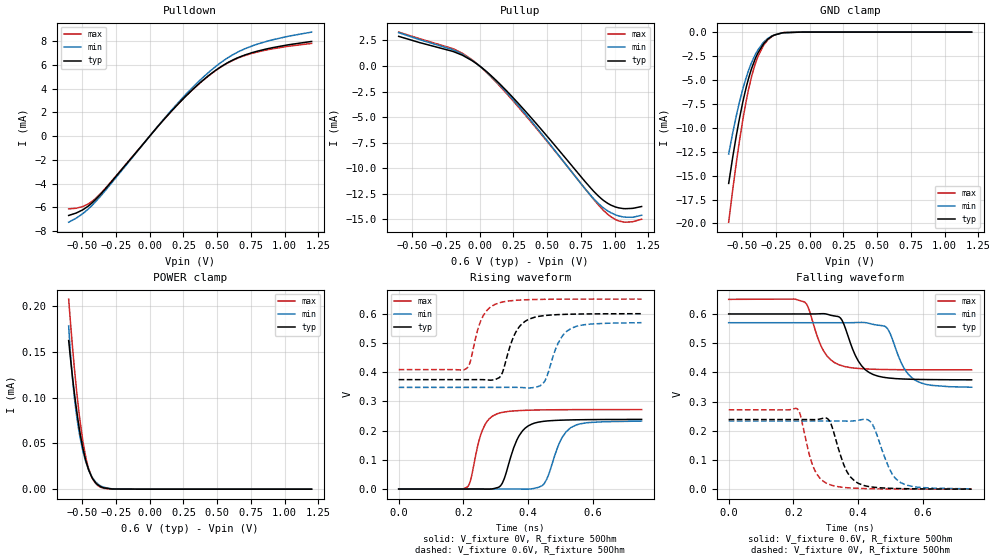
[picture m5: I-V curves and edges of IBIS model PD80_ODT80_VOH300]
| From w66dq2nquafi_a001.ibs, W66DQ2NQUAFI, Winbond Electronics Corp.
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[Model]   PD80_ODT80_VOH300
Model_type   I/O
Polarity   Non-Inverting
Enable   Active-Low
Vinl = 0.08
Vinh = 0.22
Vmeas = 0.15
Vref = 0
Cref = 0pF
Rref = 80
|   typ   min   max
C_comp   1.15pF   1.05pF   1.25pF
[Voltage Range]   0.6   0.57   0.65
[Temperature Range]   25   95   -40
[Pullup Reference]   0.6   0.57   0.65
[Pulldown Reference]   0   0   0
[Power Clamp Reference]   0.6   0.57   0.65
[GND Clamp Reference]   0   0   0
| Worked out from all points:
|   slope of the pulldown table from 0 to 0.09 V, typ, clamps not added: 74.8 ohm
|   slope of the pullup table from 0 to 0.09 V, typ, clamps not added: 89.3 ohm
|   GND clamp passes 1 mA (typ) near -0.33 V on its own axis
|   falling waveform, V_fixture 0.6V, R_fixture 50Ohm: 20-80 % time 53.9ps typ, 54.1ps min, 51.4ps max; typ from 0.6 V to 0.374 V
|   rising waveform, V_fixture 0V, R_fixture 50Ohm: 20-80 % time 47.4ps typ, 48.7ps min, 38.3ps max; typ from 0 V to 0.238 V
|   rising waveform, V_fixture 0.6V, R_fixture 50Ohm: 20-80 % time 45.8ps typ, 46.9ps min, 40.7ps max; typ from 0.374 V to 0.6 V
|   falling waveform, V_fixture 0V, R_fixture 50Ohm: 20-80 % time 46.6ps typ, 50.2ps min, 42.1ps max; typ from 0.238 V to 0 V
[Pulldown]
|   Voltage   I(typ)   I(min)   I(max)
-600mV    -6.681mA   -7.249mA   -6.124mA
-494.7mV  -6.198mA   -6.521mA   -5.925mA
-453mV    -5.874mA   -6.121mA   -5.698mA
-400.4mV  -5.339mA   -5.522mA   -5.244mA
-309.5mV  -4.197mA   -4.327mA   -4.154mA
164.9mV   2.158mA    2.235mA    2.153mA
348.3mV   4.25mA     4.45mA     4.236mA
513.4mV   5.746mA    6.09mA     5.722mA
624.6mV   6.469mA    6.921mA    6.438mA
761.1mV   7.051mA    7.618mA    6.992mA
914.4mV   7.472mA    8.135mA    7.374mA
1.2V      7.988mA    8.776mA    7.822mA
[GND Clamp]
|   Voltage   I(typ)   I(min)   I(max)
-600mV    -15.82mA   -12.76mA   -19.87mA
-570.1mV  -13.09mA   -10.55mA   -16.49mA
-520.8mV  -9.085mA   -7.357mA   -11.45mA
-494.7mV  -7.275mA   -5.925mA   -9.119mA
-452.4mV  -4.835mA   -3.99mA    -5.962mA
-429mV    -3.762mA   -3.139mA   -4.571mA
-383.6mV  -2.195mA   -1.875mA   -2.562mA
-338.1mV  -1.163mA   -1.019mA   -1.308mA
-279mV    -422.3uA   -392.4uA   -458.8uA
-187.9mV  -58.44uA   -67.57uA   -43.54uA
-59.4mV   -1.35uA    -3.104uA   -495.1nA
1.2V      0A         0A         0A
[Pullup]
|   Voltage   I(typ)   I(min)   I(max)
-600mV    2.903mA    3.266mA    3.32mA
-187.9mV  1.375mA    1.529mA    1.64mA
-35.15mV  333.7uA    360.9uA    393.7uA
84.45mV   -942.3uA   -999.6uA   -1.067mA
228.1mV   -2.828mA   -2.999mA   -3.118mA
443.4mV   -6.007mA   -6.381mA   -6.476mA
783.6mV   -11.36mA   -12.07mA   -12.06mA
898mV     -12.95mA   -13.69mA   -13.87mA
971.7mV   -13.62mA   -14.37mA   -14.76mA
1.03V     -13.89mA   -14.68mA   -15.17mA
1.129V    -13.95mA   -14.82mA   -15.26mA
1.2V      -13.76mA   -14.62mA   -15.01mA
[POWER Clamp]
|   Voltage   I(typ)   I(min)   I(max)
-600mV    162.4uA    178.3uA    207.7uA
-580.6mV  134.6uA    136.3uA    171.3uA
-557.1mV  104.3uA    99.45uA    131.3uA
-529.3mV  74.04uA    68.39uA    91.44uA
-520.7mV  65.86uA    60.72uA    80.02uA
-494.7mV  44.84uA    41.73uA    52.15uA
-471.8mV  30.48uA    29.24uA    33.83uA
-453.1mV  21.6uA     21.25uA    22.84uA
-428.4mV  13.09uA    13.62uA    12.89uA
-384mV    4.751uA    5.739uA    3.928uA
-278.5mV  182.2nA    408.3nA    62.25nA
1.2V      0A         0A         0A
[Ramp]
R_load = 50
|   typ   min   max
dV/dt_r 1.4295E-01/4.6923E-11   1.3944E-01/4.8129E-11   1.6308E-01/3.8098E-11
dV/dt_f 1.3532E-01/5.3860E-11   1.3254E-01/5.4057E-11   1.4483E-01/5.1217E-11
[Falling Waveform]
V_fixture = 0.6V
V_fixture_min = 0.57V
V_fixture_max = 0.65V
R_fixture = 50Ohm
C_fixture = 0F
|   Time   V(typ)   V(min)   V(max)
0s        600mV      570mV      650mV
235ps     600mV      570mV      640.3mV
288ps     600.9mV    570mV      483.6mV
341ps     589.7mV    570mV      425.7mV
410ps     423mV      571mV      412.6mV
481ps     382.6mV    558.2mV    409.8mV
498ps     380.2mV    534.4mV    409.4mV
539ps     377.2mV    419.1mV    409mV
571ps     376.1mV    376.7mV    408.8mV
750ps     374.5mV    349.1mV    408.6mV
[Rising Waveform]
V_fixture = 0V
V_fixture_min = 0V
V_fixture_max = 0V
R_fixture = 50Ohm
C_fixture = 0F
|   Time   V(typ)   V(min)   V(max)
0s        6.127uV    20.22uV    1.206uV
212ps     6.155uV    20.22uV    6.9mV
258ps     -53.52uV   20.3uV     200mV
305ps     4.812mV    19.82uV    257.8mV
371ps     180.8mV    -69.99uV   268.3mV
411ps     222.2mV    662.5uV    270mV
450ps     232mV      19.63mV    270.8mV
498ps     235.5mV    162mV      271.4mV
531ps     236.5mV    209.8mV    271.6mV
750ps     238.3mV    232.4mV    271.8mV
[Rising Waveform]
V_fixture = 0.6V
V_fixture_min = 0.57V
V_fixture_max = 0.65V
R_fixture = 50Ohm
C_fixture = 0F
|   Time   V(typ)   V(min)   V(max)
0s        374.3mV    347.8mV    408.6mV
208ps     374.3mV    347.8mV    411.5mV
261ps     374.2mV    347.8mV    593mV
315ps     386.6mV    347.8mV    638.4mV
357ps     526.7mV    347.9mV    645.4mV
400ps     580.1mV    346mV      647.9mV
450ps     593.5mV    367.3mV    649.1mV
492ps     596.8mV    498.3mV    649.6mV
531ps     598.2mV    548.8mV    649.8mV
750ps     599.9mV    569.2mV    650mV
[Falling Waveform]
|Gnd
V_fixture = 0V
V_fixture_min = 0V
V_fixture_max = 0V
R_fixture = 50Ohm
C_fixture = 0F
|   Time   V(typ)   V(min)   V(max)
0s        238.4mV    233.3mV    271.8mV
212ps     238.4mV    233.3mV    275mV
262ps     238.1mV    233.3mV    74.19mV
315ps     226mV      233.3mV    14.36mV
361ps     69.05mV    233.1mV    5.35mV
400ps     20.05mV    235.9mV    2.756mV
444ps     7.114mV    221.5mV    1.392mV
498ps     2.99mV     65.95mV    571.1uV
531ps     1.95mV     22.48mV    334.2uV
750ps     130.5uV    966.5uV    -11.13uV
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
